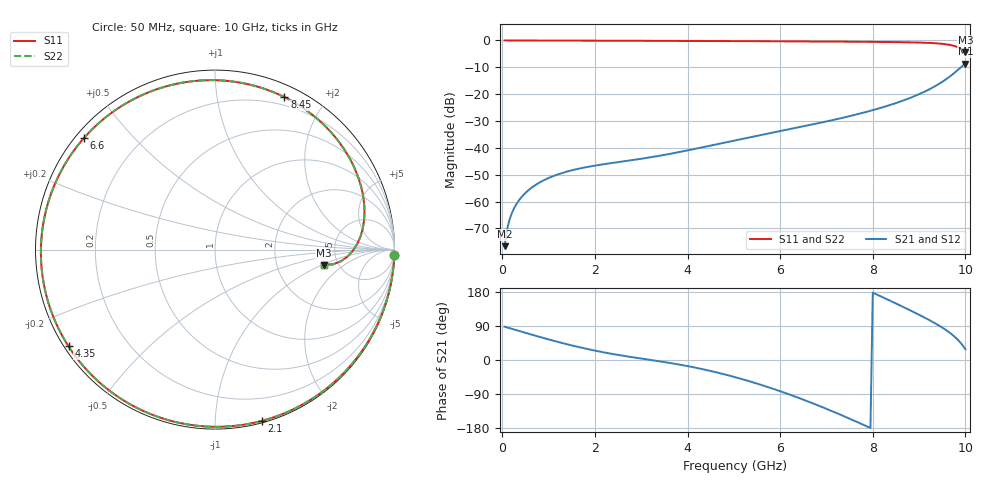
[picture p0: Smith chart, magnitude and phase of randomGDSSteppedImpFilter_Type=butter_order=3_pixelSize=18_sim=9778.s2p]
! freq	dB(S11)	phase(S11)	dB(S12)	phase(S12)
!  dB(S21)	phase(S21)	dB(S22)	phase(S22)
!S-par simulation data
#  GHz  S  DB  R 50
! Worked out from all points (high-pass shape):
!   200 points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, 50 MHz to 10 GHz, reference 50 ohm
!   highest |S21| = -8.60 dB at 10 GHz (marker M1); lowest = -76.6 dB at 50 MHz (marker M2)
!   |S21| within 3 dB of the highest: 9.796 GHz to end of sweep
!   lowest |S11| = -4.3 dB at 10 GHz (marker M3), VSWR 4.14, Z = 192 - j52 ohm
!   |S11| at or under -10 dB: nowhere
!   |S22| runs from -4.2 to 0.0 dB; largest |S21 - S12| = 0
!   S11 on the Smith chart (normalised r, x): 50 MHz: 0, -62; 2.1 GHz: 0.01, -1.31; 4.35 GHz: 0.01, -0.30; 6.6 GHz: 0.02, +0.37; 8.45 GHz: 0.12, +1.55; 10 GHz: 3.84, -1.04
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0.05  -0.00 -1.9  -76.62 87.9  -76.62 87.9  -0.00 -1.9
0.1  -0.00 -3.7  -70.59 86.1  -70.59 86.1  -0.00 -3.7
0.2  -0.01 -7.4  -64.59 82.5  -64.59 82.5  -0.01 -7.4
0.35  -0.02 -12.9  -59.79 77.1  -59.79 77.1  -0.02 -12.9
0.5  -0.02 -18.3  -56.78 71.7  -56.78 71.7  -0.02 -18.3
1  -0.05 -36.4  -51.23 54.3  -51.23 54.3  -0.05 -36.4
1.75  -0.08 -62.7  -47.40 31.4  -47.40 31.4  -0.08 -62.7
2.1  -0.09 -74.6  -46.34 22.3  -46.34 22.3  -0.09 -74.6
2.75  -0.12 -96.1  -44.71 8.5  -44.71 8.5  -0.12 -96.1
3.4  -0.15 -116.9  -42.93 -3.5  -42.93 -3.5  -0.15 -116.9
4.35  -0.19 -146.5  -39.70 -24.8  -39.70 -24.8  -0.19 -146.5
5.05  -0.24 -168.5  -37.15 -46.0  -37.15 -46.0  -0.24 -168.5
5.85  -0.30 165.4  -34.29 -76.1  -34.29 -76.1  -0.30 165.4
6.6  -0.36 139.4  -31.64 -109.3  -31.64 -109.3  -0.36 139.4
6.7  -0.37 135.8  -31.28 -114.1  -31.28 -114.1  -0.37 135.7
7.6  -0.47 101.3  -27.77 -160.2  -27.77 -160.2  -0.47 101.2
8.35  -0.58 69.9  -24.17 157.9  -24.17 157.9  -0.58 69.8
8.45  -0.60 65.5  -23.61 152.1  -23.61 152.1  -0.60 65.4
9  -0.78 40.7  -20.01 119.3  -20.01 119.3  -0.77 40.6
9.4  -1.10 21.3  -16.49 93.1  -16.49 93.1  -1.09 21.3
9.75  -2.00 2.5  -12.26 63.3  -12.26 63.3  -1.98 2.6
10  -4.28 -8.0  -8.60 28.4  -8.60 28.4  -4.23 -7.8
